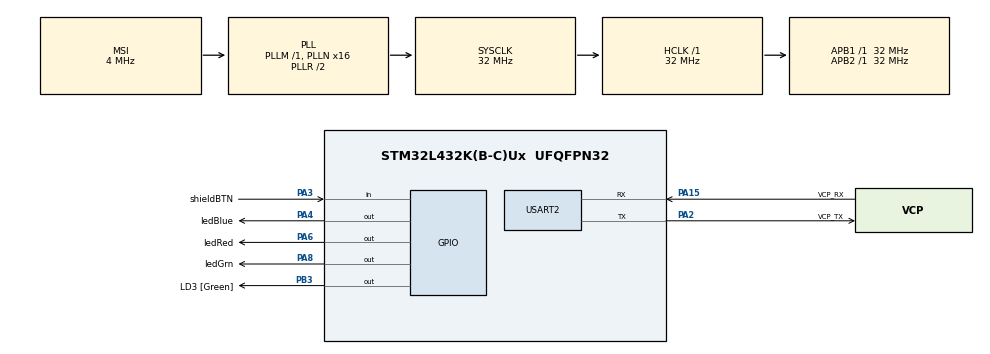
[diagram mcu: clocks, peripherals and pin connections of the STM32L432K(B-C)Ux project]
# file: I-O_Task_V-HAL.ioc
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Mcu.Family=STM32L4
Mcu.Name=STM32L432K(B-C)Ux
Mcu.Package=UFQFPN32
NVIC.PriorityGroup=NVIC_PRIORITYGROUP_4
PA0.GPIO_Label=MCO [High speed clock in]
PA0.Mode=HSE-External-Clock-Source-for-LittleOrca
PA0.Signal=RCC_CK_IN
PA13\ (JTMS-SWDIO).GPIO_Label=SWDIO
PA13\ (JTMS-SWDIO).Mode=Serial_Wire
PA13\ (JTMS-SWDIO).Signal=SYS_JTMS-SWDIO
PA14\ (JTCK-SWCLK).GPIO_Label=SWCLK
PA14\ (JTCK-SWCLK).Mode=Serial_Wire
PA14\ (JTCK-SWCLK).Signal=SYS_JTCK-SWCLK
PA15\ (JTDI).GPIO_Label=VCP_RX
PA15\ (JTDI).Mode=Asynchronous
PA15\ (JTDI).Signal=USART2_RX
PA2.GPIO_Label=VCP_TX
PA2.Mode=Asynchronous
PA2.Signal=USART2_TX
PA3.GPIO_Label=shieldBTN
PA3.Signal=GPIO_Input
PA4.GPIO_Label=ledBlue
PA4.PinState=GPIO_PIN_SET
PA4.Signal=GPIO_Output
PA6.GPIO_Label=ledRed
PA6.PinState=GPIO_PIN_SET
PA6.Signal=GPIO_Output
PA8.GPIO_Label=ledGrn
PA8.PinState=GPIO_PIN_SET
PA8.Signal=GPIO_Output
PB3\ (JTDO-TRACESWO).GPIO_Label=LD3 [Green]
PB3\ (JTDO-TRACESWO).Signal=GPIO_Output
PC14-OSC32_IN\ (PC14).Mode=LSE-External-Oscillator
PC14-OSC32_IN\ (PC14).Signal=RCC_OSC32_IN
PC15-OSC32_OUT\ (PC15).Mode=LSE-External-Oscillator
PC15-OSC32_OUT\ (PC15).Signal=RCC_OSC32_OUT
ProjectManager.HeapSize=0x200
ProjectManager.StackSize=0x400
ProjectManager.TargetToolchain=STM32CubeIDE
RCC.AHBFreq_Value=32000000
RCC.APB1Freq_Value=32000000
RCC.APB1TimFreq_Value=32000000
RCC.APB2Freq_Value=32000000
RCC.APB2TimFreq_Value=32000000
RCC.CortexFreq_Value=32000000
RCC.HCLKFreq_Value=32000000
RCC.HSE_VALUE=8000000
RCC.HSI16_VALUE=16000000
RCC.HSI48_VALUE=48000000
RCC.HSI_VALUE=16000000
RCC.MSI_VALUE=4000000
RCC.PLLMUL=RCC_PLLMUL_4
RCC.PLLN=16
RCC.SYSCLKFreq_VALUE=32000000
RCC.SYSCLKSource=RCC_SYSCLKSOURCE_PLLCLK
RCC.VCOOutputFreq_Value=64000000
USART2.VirtualMode-Asynchronous=VM_ASYNC
board=NUCLEO-L432KC

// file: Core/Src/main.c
/* USER CODE BEGIN Header */
/**
  ******************************************************************************
  * @file           : main.c
  * @brief          : Main program body
  ******************************************************************************
  * @attention
  *
  * Copyright (c) 2022 STMicroelectronics.
  * All rights reserved.
  *
  * This software is licensed under terms that can be found in the LICENSE file
  * in the root directory of this software component.
  * If no LICENSE file comes with this software, it is provided AS-IS.
  *
  ******************************************************************************
  */
/* USER CODE END Header */
#include "main.h"

/* USER CODE BEGIN Includes */

#include <stdbool.h> //for logic operations

/* USER CODE END Includes */

UART_HandleTypeDef huart2;

/* USER CODE BEGIN PV */

bool btn_state_old = false;

/* USER CODE END PV */

void SystemClock_Config(void);
static void MX_GPIO_Init(void);
static void MX_USART2_UART_Init(void);

/* USER CODE BEGIN 0 */

/**
  * @brief  toggles the Green LED of the RGB LED using HAL Library functions
  * @retval None
  */
void led_toggle(){
	HAL_GPIO_TogglePin(ledGrn_GPIO_Port, ledGrn_Pin);
}

/**
  * @brief  turns on the Blue LED of the RGB LED using HAL Library functions
  * @retval None
  */
void led_on(){
	HAL_GPIO_WritePin(ledBlue_GPIO_Port, ledBlue_Pin, 0);	//0 to turn on LED because active low LED
}

/**
  * @brief  turns off the Blue LED of the RGB LED using HAL Library functions
  * @retval None
  */
void led_off(){
	HAL_GPIO_WritePin(ledBlue_GPIO_Port, ledBlue_Pin, 1);	//1 to turn on LED because active low LED
}

/**
  * @brief  checks if a button on shield board is pressed or not.
  * If it gets pressed the program waits for 15ms. After the delay the button state is read again.
  * If the button is still pressed, the functions detects a valid button press and returns true.
  * If the button is not pressed the function returns false.
  * @retval bool
  */
bool button_check(){
	if(!HAL_GPIO_ReadPin(shieldBTN_GPIO_Port, shieldBTN_Pin)){		//if the button pin is low (=button pressed)
		HAL_Delay(15);												//delay for 15ms
		if(!HAL_GPIO_ReadPin(shieldBTN_GPIO_Port, shieldBTN_Pin))	//check again if button is pressed
		return true; 												//and if the button is still pressed return true
	}
	else
		return false; //else = the button is not pressed
}

/* USER CODE END 0 */

int main(void)
{

  /* MCU Configuration--------------------------------------------------------*/

  /* Reset of all peripherals, Initializes the Flash interface and the Systick. */
  HAL_Init();

  /* Configure the system clock */
  SystemClock_Config();

  /* Initialize all configured peripherals */
  MX_GPIO_Init();
  MX_USART2_UART_Init();
  /* USER CODE BEGIN 2 */

  //led_off();

  /* USER CODE END 2 */

  /* Infinite loop */
  while (1)
  {

    /* USER CODE BEGIN 3 */

	  if(btn_state_old != button_check()){ //checks if there is a change in button state
		  if(btn_state_old) 		//if button switched from pressed to nonpressed
			  led_off();			//turn the Blue LED off
		  else if(!btn_state_old){ 	//if button switched from nonpressed to pressed
			  led_on();				//turn the Blue LED on
		  	  led_toggle();			//and toggle the green LED
		  }
		  btn_state_old = !btn_state_old;
	  }
  }
  /* USER CODE END 3 */
}

void SystemClock_Config(void)
{
  RCC_OscInitTypeDef RCC_OscInitStruct = {0};
  RCC_ClkInitTypeDef RCC_ClkInitStruct = {0};

  /** Configure the main internal regulator output voltage
  */
  if (HAL_PWREx_ControlVoltageScaling(PWR_REGULATOR_VOLTAGE_SCALE1) != HAL_OK)
  {
    Error_Handler();
  }

  /** Configure LSE Drive Capability
  */
  HAL_PWR_EnableBkUpAccess();
  __HAL_RCC_LSEDRIVE_CONFIG(RCC_LSEDRIVE_LOW);

  /** Initializes the RCC Oscillators according to the specified parameters
  * in the RCC_OscInitTypeDef structure.
  */
  RCC_OscInitStruct.OscillatorType = RCC_OSCILLATORTYPE_LSE|RCC_OSCILLATORTYPE_MSI;
  RCC_OscInitStruct.LSEState = RCC_LSE_ON;
  RCC_OscInitStruct.MSIState = RCC_MSI_ON;
  RCC_OscInitStruct.MSICalibrationValue = 0;
  RCC_OscInitStruct.MSIClockRange = RCC_MSIRANGE_6;
  RCC_OscInitStruct.PLL.PLLState = RCC_PLL_ON;
  RCC_OscInitStruct.PLL.PLLSource = RCC_PLLSOURCE_MSI;
  RCC_OscInitStruct.PLL.PLLM = 1;
  RCC_OscInitStruct.PLL.PLLN = 16;
  RCC_OscInitStruct.PLL.PLLP = RCC_PLLP_DIV7;
  RCC_OscInitStruct.PLL.PLLQ = RCC_PLLQ_DIV2;
  RCC_OscInitStruct.PLL.PLLR = RCC_PLLR_DIV2;
  if (HAL_RCC_OscConfig(&RCC_OscInitStruct) != HAL_OK)
  {
    Error_Handler();
  }

  /** Initializes the CPU, AHB and APB buses clocks
  */
  RCC_ClkInitStruct.ClockType = RCC_CLOCKTYPE_HCLK|RCC_CLOCKTYPE_SYSCLK
                              |RCC_CLOCKTYPE_PCLK1|RCC_CLOCKTYPE_PCLK2;
  RCC_ClkInitStruct.SYSCLKSource = RCC_SYSCLKSOURCE_PLLCLK;
  RCC_ClkInitStruct.AHBCLKDivider = RCC_SYSCLK_DIV1;
  RCC_ClkInitStruct.APB1CLKDivider = RCC_HCLK_DIV1;
  RCC_ClkInitStruct.APB2CLKDivider = RCC_HCLK_DIV1;

  if (HAL_RCC_ClockConfig(&RCC_ClkInitStruct, FLASH_LATENCY_1) != HAL_OK)
  {
    Error_Handler();
  }

  /** Enable MSI Auto calibration
  */
  HAL_RCCEx_EnableMSIPLLMode();
}

static void MX_USART2_UART_Init(void)
{

  huart2.Instance = USART2;
  huart2.Init.BaudRate = 115200;
  huart2.Init.WordLength = UART_WORDLENGTH_8B;
  huart2.Init.StopBits = UART_STOPBITS_1;
  huart2.Init.Parity = UART_PARITY_NONE;
  huart2.Init.Mode = UART_MODE_TX_RX;
  huart2.Init.HwFlowCtl = UART_HWCONTROL_NONE;
  huart2.Init.OverSampling = UART_OVERSAMPLING_16;
  huart2.Init.OneBitSampling = UART_ONE_BIT_SAMPLE_DISABLE;
  huart2.AdvancedInit.AdvFeatureInit = UART_ADVFEATURE_NO_INIT;
  if (HAL_UART_Init(&huart2) != HAL_OK)
  {
    Error_Handler();
  }

}

static void MX_GPIO_Init(void)
{
  GPIO_InitTypeDef GPIO_InitStruct = {0};

  /* GPIO Ports Clock Enable */
  __HAL_RCC_GPIOC_CLK_ENABLE();
  __HAL_RCC_GPIOA_CLK_ENABLE();
  __HAL_RCC_GPIOB_CLK_ENABLE();

  /*Configure GPIO pin Output Level */
  HAL_GPIO_WritePin(GPIOA, ledBlue_Pin|ledRed_Pin|ledGrn_Pin, GPIO_PIN_SET);

  /*Configure GPIO pin Output Level */
  HAL_GPIO_WritePin(LD3_GPIO_Port, LD3_Pin, GPIO_PIN_RESET);

  /*Configure GPIO pin : shieldBTN_Pin */
  GPIO_InitStruct.Pin = shieldBTN_Pin;
  GPIO_InitStruct.Mode = GPIO_MODE_INPUT;
  GPIO_InitStruct.Pull = GPIO_NOPULL;
  HAL_GPIO_Init(shieldBTN_GPIO_Port, &GPIO_InitStruct);

  /*Configure GPIO pins : ledBlue_Pin ledRed_Pin ledGrn_Pin */
  GPIO_InitStruct.Pin = ledBlue_Pin|ledRed_Pin|ledGrn_Pin;
  GPIO_InitStruct.Mode = GPIO_MODE_OUTPUT_PP;
  GPIO_InitStruct.Pull = GPIO_NOPULL;
  GPIO_InitStruct.Speed = GPIO_SPEED_FREQ_LOW;
  HAL_GPIO_Init(GPIOA, &GPIO_InitStruct);

  /*Configure GPIO pin : LD3_Pin */
  GPIO_InitStruct.Pin = LD3_Pin;
  GPIO_InitStruct.Mode = GPIO_MODE_OUTPUT_PP;
  GPIO_InitStruct.Pull = GPIO_NOPULL;
  GPIO_InitStruct.Speed = GPIO_SPEED_FREQ_LOW;
  HAL_GPIO_Init(LD3_GPIO_Port, &GPIO_InitStruct);

}

void Error_Handler(void)
{
  __disable_irq();
  while (1)
  {
  }
}
